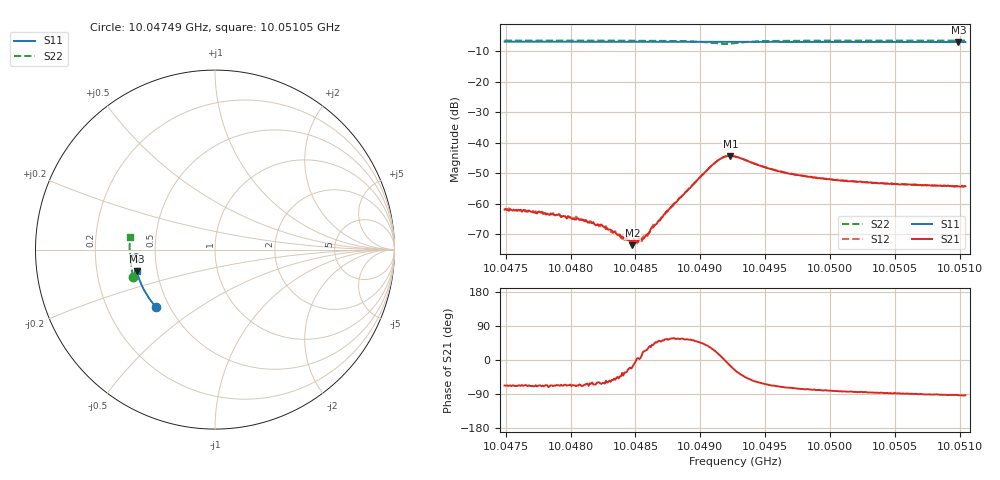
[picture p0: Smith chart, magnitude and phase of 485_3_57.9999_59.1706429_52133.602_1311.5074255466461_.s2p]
#  HZ  S  RI  R  50.00
! Rohde & Schwarz Vector Network Analyzer
! Rohde-Schwarz,ZNB20-2Port,1311601062101988,3.16
! Created: UTC 3/21/2024, 1:12:03 AM
! freq[Hz]  re:S11  im:S11  re:S21  im:S21  re:S12  im:S12  re:S22  im:S22
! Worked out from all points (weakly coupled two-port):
!   401 points, 10.04749 GHz to 10.05105 GHz, reference 50 ohm
!   highest |S21| = -44.28 dB at 10.04923 GHz (marker M1); lowest = -73.6 dB at 10.04848 GHz (marker M2)
!   lowest |S11| = -6.9 dB at 10.05099 GHz (marker M3), VSWR 2.65, Z = 19.2 - j5.83 ohm
!   |S11| at or under -10 dB: nowhere
!   |S22| runs from -7.5 to -6.4 dB; largest |S21 - S12| = 0.00044
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1.0047491e10  -0.3273 -0.3209  0.000312 -0.000744  0.000358 -0.000756  -0.4544 -0.1507
1.0047766e10  -0.3393 -0.3074  0.000283 -0.000662  0.000301 -0.000646  -0.4597 -0.1324
1.0047899e10  -0.3449 -0.3004  0.000264 -0.000604  0.000282 -0.00061  -0.4619 -0.1233
1.0048086e10  -0.3525 -0.2907  0.000196 -0.000511  0.000283 -0.000483  -0.4645 -0.1103
1.0048246e10  -0.359 -0.2825  0.000214 -0.000378  0.000233 -0.000361  -0.4665 -0.0988
1.0048459e10  -0.3672 -0.2709  0.000218 -7.97e-05  0.000236 -6.83e-05  -0.4684 -0.0825
1.0048477e10  -0.3678 -0.27  0.000199 -6.31e-05  0.000196 -4.9e-05  -0.4685 -0.081
1.004853e10  -0.3698 -0.2671  0.000268 1.13e-05  0.000266 2.88e-05  -0.4688 -0.0768
1.0048566e10  -0.3712 -0.2652  0.000251 0.000106  0.000266 0.000126  -0.4687 -0.0738
1.0048601e10  -0.3724 -0.2633  0.000269 0.000179  0.000274 0.000197  -0.4688 -0.0706
1.0048637e10  -0.3736 -0.2613  0.000315 0.000263  0.000315 0.00033  -0.4687 -0.0675
1.0048681e10  -0.3753 -0.2588  0.000333 0.000413  0.000324 0.000428  -0.4685 -0.0636
1.0048788e10  -0.379 -0.2528  0.000528 0.000811  0.000472 0.000792  -0.4671 -0.0532
1.0049099e10  -0.3893 -0.2352  0.00393 0.00207  0.0038 0.00232  -0.4343 -0.0255
1.004917e10  -0.3912 -0.2314  0.00568 0.000596  0.00566 0.000971  -0.4196 -0.0374
1.0049232e10  -0.3931 -0.228  0.00588 -0.00166  0.00602 -0.00127  -0.4211 -0.0554
1.0049268e10  -0.3943 -0.2259  0.00531 -0.00269  0.00554 -0.00236  -0.4279 -0.0623
1.0049588e10  -0.4043 -0.2074  0.00126 -0.00327  0.00148 -0.00322  -0.4689 -0.0417
1.0049863e10  -0.4118 -0.1908  0.000551 -0.00268  0.000703 -0.00265  -0.4746 -0.0167
1.0050459e10  -0.4258 -0.1545  7.21e-05 -0.00212  0.000221 -0.00215  -0.4753 0.0279
1.0050992e10  -0.4357 -0.1211  -0.00011 -0.00194  -9.79e-06 -0.00197  -0.4717 0.0645
1.0051045e10  -0.4366 -0.1177  -9.54e-05 -0.00194  1.2e-05 -0.00192  -0.4712 0.068
